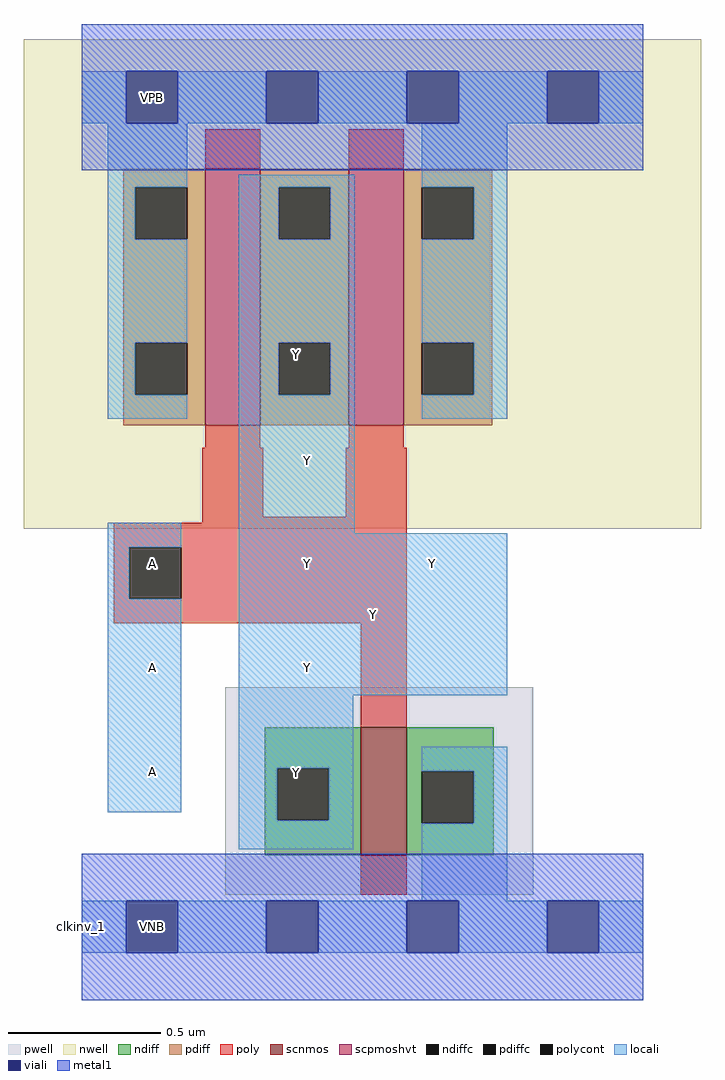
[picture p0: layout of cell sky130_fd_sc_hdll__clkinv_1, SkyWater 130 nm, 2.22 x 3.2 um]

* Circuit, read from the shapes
.subckt sky130_fd_sc_hdll__clkinv_1 A VGND VNB VPB VPWR Y
XM1 VGND A Y VNB sky130_fd_pr__nfet_01v8 w=0.42 l=0.15
XM2 Y A VPWR VPB sky130_fd_pr__pfet_01v8_hvt w=0.84 l=0.18 m=2
.ends

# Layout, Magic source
magic
tech sky130A
magscale 1 2
<< nwell >>
rect -38 261 406 582
<< pwell >>
rect 94 21 296 157
rect 29 -17 63 17
<< scnmos >>
rect 183 47 213 131
<< scpmoshvt >>
rect 81 329 117 497
rect 175 329 211 497
<< ndiff >>
rect 120 104 183 131
rect 120 70 128 104
rect 162 70 183 104
rect 120 47 183 70
rect 213 102 270 131
rect 213 68 223 102
rect 257 68 270 102
rect 213 47 270 68
<< pdiff >>
rect 27 485 81 497
rect 27 451 35 485
rect 69 451 81 485
rect 27 383 81 451
rect 27 349 35 383
rect 69 349 81 383
rect 27 329 81 349
rect 117 485 175 497
rect 117 451 129 485
rect 163 451 175 485
rect 117 383 175 451
rect 117 349 129 383
rect 163 349 175 383
rect 117 329 175 349
rect 211 485 269 497
rect 211 451 223 485
rect 257 451 269 485
rect 211 383 269 451
rect 211 349 223 383
rect 257 349 269 383
rect 211 329 269 349
<< ndiffc >>
rect 128 70 162 104
rect 223 68 257 102
<< pdiffc >>
rect 35 451 69 485
rect 35 349 69 383
rect 129 451 163 485
rect 129 349 163 383
rect 223 451 257 485
rect 223 349 257 383
<< poly >>
rect 81 497 117 523
rect 175 497 211 523
rect 81 314 117 329
rect 175 314 211 329
rect 79 269 119 314
rect 173 269 213 314
rect 79 265 213 269
rect 21 249 213 265
rect 21 215 31 249
rect 65 215 213 249
rect 21 199 213 215
rect 183 131 213 199
rect 183 21 213 47
<< polycont >>
rect 31 215 65 249
<< locali >>
rect 0 527 29 561
rect 63 527 121 561
rect 155 527 213 561
rect 247 527 305 561
rect 339 527 368 561
rect 17 485 69 527
rect 17 451 35 485
rect 17 383 69 451
rect 17 349 35 383
rect 17 333 69 349
rect 103 485 179 493
rect 103 451 129 485
rect 163 451 179 485
rect 103 383 179 451
rect 103 349 129 383
rect 163 349 179 383
rect 17 249 65 265
rect 17 215 31 249
rect 17 75 65 215
rect 103 258 179 349
rect 223 485 279 527
rect 257 451 279 485
rect 223 383 279 451
rect 257 349 279 383
rect 223 333 279 349
rect 103 152 279 258
rect 103 104 178 152
rect 103 70 128 104
rect 162 70 178 104
rect 103 51 178 70
rect 223 102 279 118
rect 257 68 279 102
rect 223 17 279 68
rect 0 -17 29 17
rect 63 -17 121 17
rect 155 -17 213 17
rect 247 -17 305 17
rect 339 -17 368 17
<< viali >>
rect 29 527 63 561
rect 121 527 155 561
rect 213 527 247 561
rect 305 527 339 561
rect 29 -17 63 17
rect 121 -17 155 17
rect 213 -17 247 17
rect 305 -17 339 17
<< metal1 >>
rect 0 561 368 592
rect 0 527 29 561
rect 63 527 121 561
rect 155 527 213 561
rect 247 527 305 561
rect 339 527 368 561
rect 0 496 368 527
rect 0 17 368 48
rect 0 -17 29 17
rect 63 -17 121 17
rect 155 -17 213 17
rect 247 -17 305 17
rect 339 -17 368 17
rect 0 -48 368 -17
<< labels >>
flabel locali s 103 258 179 493 0 FreeSans 250 0 0 0 Y
port 6 nsew signal output
flabel locali s 230 238 230 238 0 FreeSans 250 0 0 0 Y
port 6 nsew
flabel locali s 131 289 165 323 0 FreeSans 250 0 0 0 Y
port 6 nsew
flabel locali s 131 221 165 255 0 FreeSans 250 0 0 0 Y
port 6 nsew
flabel locali s 131 153 165 187 0 FreeSans 250 0 0 0 Y
port 6 nsew
flabel locali s 29 85 63 119 0 FreeSans 250 0 0 0 A
port 1 nsew signal input
flabel locali s 29 153 63 187 0 FreeSans 250 0 0 0 A
port 1 nsew signal input
flabel locali s 29 221 63 255 0 FreeSans 250 0 0 0 A
port 1 nsew signal input
flabel nwell s 29 527 63 561 0 FreeSans 200 0 0 0 VPB
port 4 nsew power bidirectional
flabel pwell s 29 -17 63 17 0 FreeSans 200 0 0 0 VNB
port 3 nsew ground bidirectional
flabel metal1 s 29 -17 63 17 0 FreeSans 200 0 0 0 VGND
port 2 nsew ground bidirectional
flabel metal1 s 29 527 63 561 0 FreeSans 200 0 0 0 VPWR
port 5 nsew power bidirectional
rlabel comment s 0 0 0 0 4 clkinv_1
rlabel locali s 103 152 279 258 1 Y
port 6 nsew signal output
rlabel locali s 103 51 178 152 1 Y
port 6 nsew signal output
<< properties >>
string LEFsite unithd
string LEFclass CORE
string FIXED_BBOX 0 0 368 544
string GDS_FILE $PDKPATH/libs.ref/sky130_fd_sc_hdll/gds/sky130_fd_sc_hdll.gds
string LEFsymmetry X Y R90
string GDS_END 1992470
string GDS_START 1988504
string LEFproperties maskLayoutSubType "abstract" prCellType "standard" originalViewName "layout"
<< end >>
